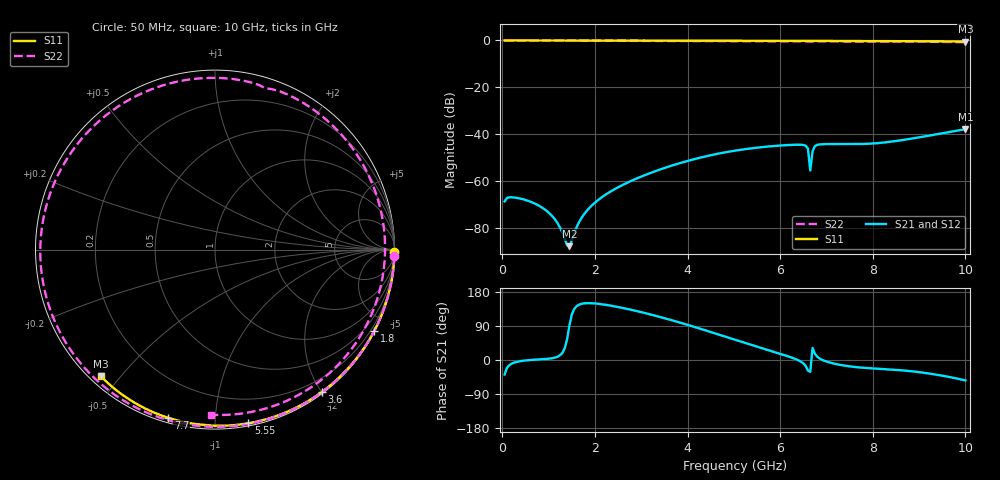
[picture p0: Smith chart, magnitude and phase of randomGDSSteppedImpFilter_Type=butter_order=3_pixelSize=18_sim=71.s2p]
! freq	dB(S11)	phase(S11)	dB(S12)	phase(S12)
!  dB(S21)	phase(S21)	dB(S22)	phase(S22)
!S-par simulation data
#  GHz  S  DB  R 50
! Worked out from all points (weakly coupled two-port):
!   200 points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, 50 MHz to 10 GHz, reference 50 ohm
!   highest |S21| = -37.92 dB at 10 GHz (marker M1); lowest = -87.9 dB at 1.45 GHz (marker M2)
!   lowest |S11| = -0.4 dB at 10 GHz (marker M3), VSWR 38.99, Z = 1.54 - j22.3 ohm
!   |S11| at or under -10 dB: nowhere
!   |S22| runs from -0.7 to 0.0 dB; largest |S21 - S12| = 0
!   S11 on the Smith chart (normalised r, x): 50 MHz: open; 1.8 GHz: 0.04, -4.15; 3.6 GHz: 0.02, -2.01; 5.55 GHz: 0.02, -1.21; 7.7 GHz: 0.02, -0.76; 10 GHz: 0.03, -0.45
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0.05  -0.00 -0.8  -68.77 -38.3  -68.77 -38.3  -0.00 -2.2
0.65  -0.01 -9.9  -69.22 0.4  -69.22 0.4  -0.03 -28.4
1.25  -0.02 -18.9  -80.04 12.8  -80.04 12.8  -0.07 -54.0
1.45  -0.03 -21.9  -87.89 91.4  -87.89 91.4  -0.08 -62.3
1.6  -0.03 -24.1  -80.00 141.5  -80.00 141.5  -0.09 -68.5
1.75  -0.03 -26.4  -74.70 149.2  -74.70 149.2  -0.09 -74.6
1.8  -0.03 -27.1  -73.39 149.8  -73.39 149.8  -0.09 -76.7
2.4  -0.05 -35.9  -63.82 142.1  -63.82 142.1  -0.12 -100.7
3.4  -0.07 -50.2  -55.18 113.8  -55.18 113.8  -0.17 -139.8
3.6  -0.07 -53.0  -53.85 107.1  -53.85 107.1  -0.18 -147.6
4.35  -0.09 -63.3  -49.71 79.6  -49.71 79.6  -0.23 -177.7
5.05  -0.11 -72.6  -47.01 52.5  -47.01 52.5  -0.28 152.4
5.55  -0.13 -79.1  -45.70 33.4  -45.70 33.4  -0.32 129.3
6.55  -0.17 -91.7  -44.96 -15.5  -44.96 -15.5  -0.42 78.0
6.6  -0.18 -92.3  -46.20 -27.9  -46.20 -27.9  -0.45 75.2
6.65  -0.19 -92.9  -55.54 -31.3  -55.54 -31.3  -0.52 72.7
6.7  -0.19 -93.5  -47.37 32.1  -47.37 32.1  -0.47 70.6
6.85  -0.19 -95.3  -44.43 4.1  -44.43 4.1  -0.41 62.1
7.7  -0.24 -105.5  -44.27 -19.5  -44.27 -19.5  -0.45 15.0
8.35  -0.29 -113.1  -43.36 -24.6  -43.36 -24.6  -0.50 -19.0
9.15  -0.36 -122.3  -40.89 -34.5  -40.89 -34.5  -0.58 -56.5
10  -0.45 -132.0  -37.92 -53.8  -37.92 -53.8  -0.72 -91.2
